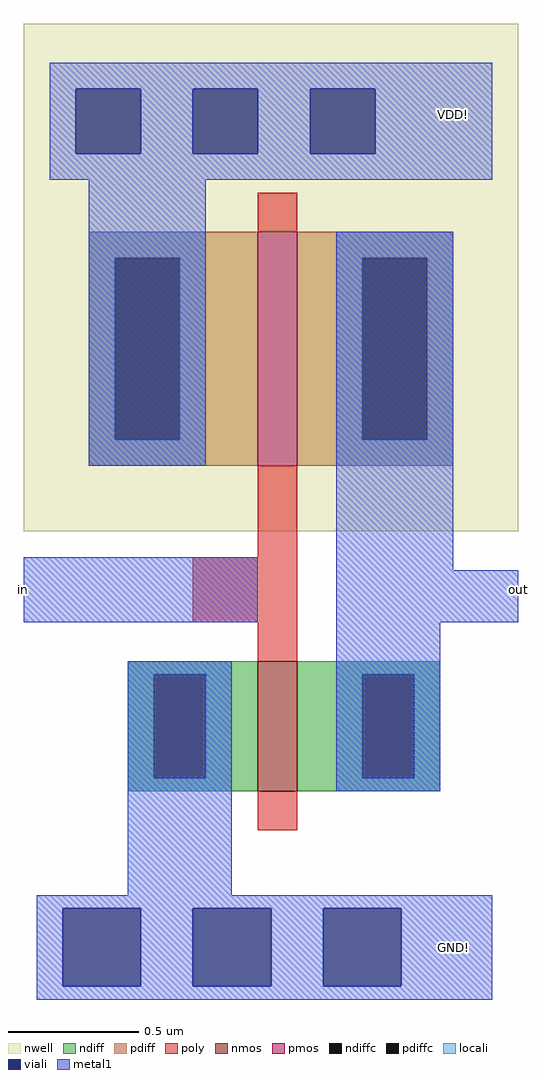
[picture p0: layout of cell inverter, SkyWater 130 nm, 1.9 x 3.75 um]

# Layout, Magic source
magic
tech sky130A
<< nwell >>
rect -90 -40 100 155
<< nmos >>
rect 0 -140 15 -90
<< pmos >>
rect 0 -15 15 75
<< ndiff >>
rect -50 -95 0 -90
rect -50 -135 -40 -95
rect -20 -135 0 -95
rect -50 -140 0 -135
rect 15 -95 70 -90
rect 15 -135 40 -95
rect 60 -135 70 -95
rect 15 -140 70 -135
<< pdiff >>
rect -65 65 0 75
rect -65 -5 -55 65
rect -30 -5 0 65
rect -65 -15 0 -5
rect 15 65 75 75
rect 15 -5 40 65
rect 65 -5 75 65
rect 15 -15 75 -5
<< ndiffc >>
rect -40 -135 -20 -95
rect 40 -135 60 -95
<< pdiffc >>
rect -55 -5 -30 65
rect 40 -5 65 65
<< poly >>
rect 0 75 15 90
rect 0 -50 15 -15
rect -25 -75 15 -50
rect 0 -90 15 -75
rect 0 -155 15 -140
<< locali >>
rect -65 65 -20 75
rect -65 -5 -55 65
rect -30 -5 -20 65
rect -65 -15 -20 -5
rect 30 65 75 75
rect 30 -5 40 65
rect 65 -5 75 65
rect 30 -15 75 -5
rect -50 -95 -10 -90
rect -50 -135 -40 -95
rect -20 -135 -10 -95
rect -50 -140 -10 -135
rect 30 -95 70 -90
rect 30 -135 40 -95
rect 60 -135 70 -95
rect 30 -140 70 -135
<< viali >>
rect -70 105 -45 130
rect -25 105 0 130
rect 20 105 45 130
rect -75 -215 -45 -185
rect -25 -215 5 -185
rect 25 -215 55 -185
<< metal1 >>
rect -80 130 90 140
rect -80 105 -70 130
rect -45 105 -25 130
rect 0 105 20 130
rect 45 105 90 130
rect -80 95 90 105
rect -65 -15 -20 95
rect -90 -75 0 -50
rect 30 -55 75 75
rect 30 -75 100 -55
rect -50 -180 -10 -90
rect 30 -140 70 -75
rect -85 -185 90 -180
rect -85 -215 -75 -185
rect -45 -215 -25 -185
rect 5 -215 25 -185
rect 55 -215 90 -185
rect -85 -220 90 -215
<< labels >>
rlabel metal1 75 -200 75 -200 1 GND!
rlabel metal1 -90 -75 -90 -50 3 in
rlabel space 100 -75 100 -50 7 out
rlabel metal1 75 120 75 120 1 VDD!
<< end >>
